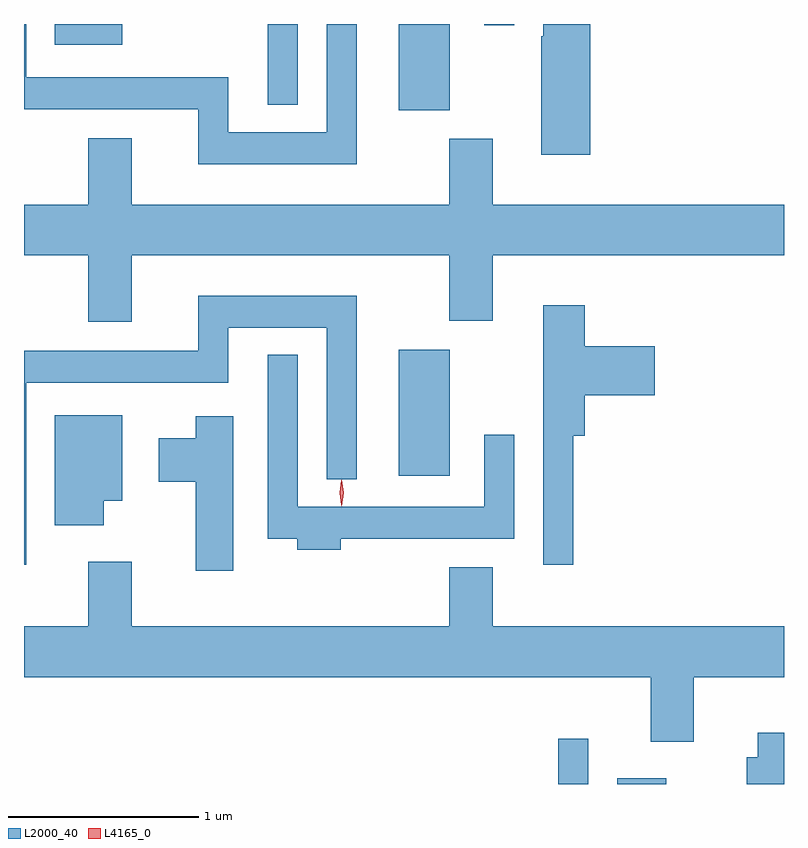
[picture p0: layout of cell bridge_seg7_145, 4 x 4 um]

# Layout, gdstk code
import gdstk
lib = gdstk.Library(unit=1e-6, precision=1e-09)
def R(c, l, rs):  # rectangles x0, y0, x1, y1
    for r in rs: c.add(gdstk.rectangle(r[:2], r[2:], *l))
def P(c, l, *ps):  # polygons
    for p in ps: c.add(gdstk.Polygon(p, *l))
L2000_40 = (2000, 40)
L4165_0 = (4165, 0)

bridge_seg7_145 = lib.new_cell('bridge_seg7_145')
R(bridge_seg7_145, L2000_40, [(1478.536,1720.414,1478.694,1720.653), (1478.846,1720.414,1479.104,1720.444), (1477.696,1722.036,1477.964,1722.699), (1477.696,1723.961,1477.964,1724.414), (1477.006,1723.988,1477.164,1724.414), (1475.886,1724.306,1476.239,1724.414), (1478.146,1724.408,1478.304,1724.414)])
P(bridge_seg7_145, L2000_40, [(1478.704,1724.414),(1478.456,1724.414),(1478.456,1724.35),(1478.446,1724.35),(1478.446,1723.726),(1478.704,1723.726)],
  [(1477.474,1724.414),(1477.316,1724.414),(1477.316,1723.844),(1476.799,1723.844),(1476.799,1724.134),(1475.734,1724.134),(1475.734,1724.414),(1475.723,1724.414),(1475.723,1723.966),(1476.641,1723.966),(1476.641,1723.676),(1477.474,1723.676)],
  [(1476.289,1723.196),(1477.961,1723.196),(1477.961,1722.851),(1478.189,1722.851),(1478.189,1723.196),(1479.723,1723.196),(1479.723,1723.464),(1478.189,1723.464),(1478.189,1723.809),(1477.961,1723.809),(1477.961,1723.464),(1476.289,1723.464),(1476.289,1723.814),(1476.061,1723.814),(1476.061,1723.464),(1475.723,1723.464),(1475.723,1723.196),(1476.061,1723.196),(1476.061,1722.846),(1476.289,1722.846)],
  [(1475.734,1722.526),(1476.799,1722.526),(1476.799,1722.816),(1477.316,1722.816),(1477.316,1722.018),(1477.474,1722.018),(1477.474,1722.984),(1476.641,1722.984),(1476.641,1722.694),(1475.723,1722.694),(1475.723,1721.568),(1475.734,1721.568)],
  [(1478.614,1722.246),(1478.674,1722.246),(1478.674,1722.461),(1479.044,1722.461),(1479.044,1722.719),(1478.674,1722.719),(1478.674,1722.934),(1478.456,1722.934),(1478.456,1721.568),(1478.614,1721.568)],
  [(1477.389,1721.706),(1478.304,1721.706),(1478.304,1722.253),(1478.146,1722.253),(1478.146,1721.874),(1477.164,1721.874),(1477.164,1722.673),(1477.006,1722.673),(1477.006,1721.706),(1477.161,1721.706),(1477.161,1721.646),(1477.389,1721.646)],
  [(1476.144,1721.906),(1476.239,1721.906),(1476.239,1722.354),(1475.886,1722.354),(1475.886,1721.776),(1476.144,1721.776)],
  [(1476.824,1722.349),(1476.626,1722.349),(1476.626,1722.234),(1476.431,1722.234),(1476.431,1722.006),(1476.626,1722.006),(1476.626,1721.536),(1476.824,1721.536)],
  [(1479.249,1720.976),(1479.723,1720.976),(1479.723,1721.244),(1478.189,1721.244),(1478.189,1721.554),(1477.961,1721.554),(1477.961,1721.244),(1476.289,1721.244),(1476.289,1721.584),(1476.061,1721.584),(1476.061,1721.244),(1475.723,1721.244),(1475.723,1720.976),(1479.021,1720.976),(1479.021,1720.636),(1479.249,1720.636)],
  [(1479.723,1720.684),(1479.586,1720.684),(1479.586,1720.554),(1479.526,1720.554),(1479.526,1720.414),(1479.723,1720.414)])
P(bridge_seg7_145, L4165_0, [(1477.395,1721.877),(1477.395,1721.877),(1477.385,1721.947),(1477.395,1722.016),(1477.395,1722.016),(1477.396,1722.016),(1477.405,1721.947),(1477.396,1721.877)],
  [(1477.395,1721.879),(1477.394,1721.88),(1477.385,1721.946),(1477.394,1722.012),(1477.395,1722.013),(1477.396,1722.012),(1477.405,1721.946),(1477.396,1721.88)])

lib.write_gds('bridge_seg7_145.gds')
